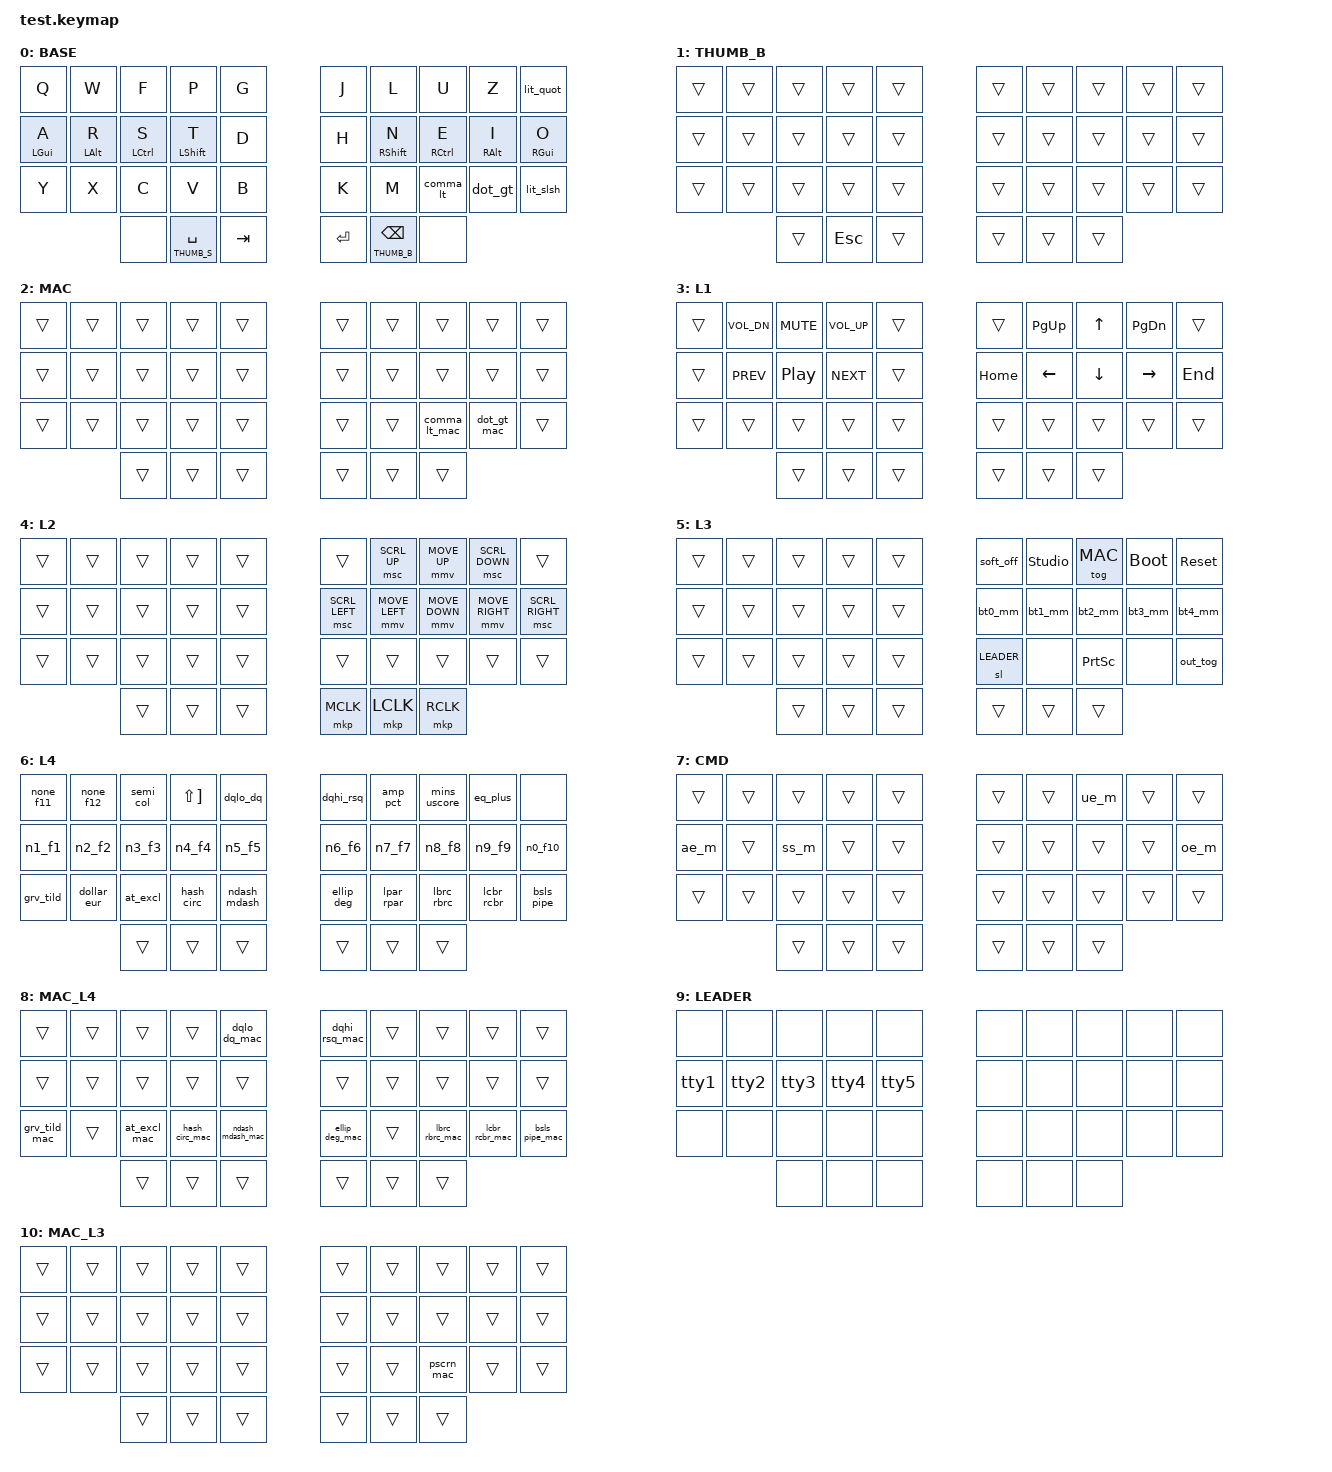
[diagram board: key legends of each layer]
/*
 * Cheapino v2 - Toby Keymap (ZMK Port) - HRM + Bottom-Row-Layer Variante
 *
 * Layer-Aufbau:
 *   BASE      - Colemak DH, HRMs auf Home Row (GACS, gespiegelt)
 *               Outer-Thumbs: plain ESC/DEL. Inner-Thumbs: lt THUMB_S/THUMB_B.
 *               Bottom-Row Layer-Trigger: noch offen (aktuell alle plain).
 *   THUMB_S   - aktiv solange linker Inner-Thumb (SPACE) gehalten wird.
 *               Nur Pos 34 ueberschrieben (= DEL). Rest faellt auf BASE durch.
 *               Effekt: Hold SPC + Tap BSPC = DEL.
 *   THUMB_B   - aktiv solange rechter Inner-Thumb (BSPC) gehalten wird.
 *               Nur Pos 31 ueberschrieben (= ESC). Rest faellt auf BASE durch.
 *               Effekt: Hold BSPC + Tap SPC = ESC.
 *   MAC       - Sentinel-Layer ueber BASE; getoggelt via &tog MAC auf L3.
 *               Thumbs alle trans (App-Switch laeuft jetzt ueber HRMs).
 *   L1 (NAV)  - Pfeile + Media; Trigger: TODO Bottom-Row
 *   L2 (MOUSE)- Maus; Trigger: TODO Bottom-Row
 *   L3 (SYS)  - BT, Studio, Reset, MAC-Toggle, Leader; Trigger: TODO
 *   L4 (NUM)  - Num/F/Sym kombiniert; Trigger: TODO (evtl. Smart-Layer)
 *   CMD       - Umlaute (Mod-Morph); evtl. spaeter durch adaptive keys ersetzt.
 *   MAC_L4    - conditional ueber L4+MAC; ueberlagert L4 mit Mac-Symbolen.
 *   LEADER    - sticky-layer fuer TTY-Switch.
 *   MAC_L3    - conditional ueber L3+MAC; ueberlagert PSCRN mit Mac-Screenshot.
 *
 * HRMs (Home Row, GACS, gespiegelt):
 *   Links:  A=GUI, R=Alt, S=Ctrl, T=Shift
 *   Rechts: N=Shift, E=Ctrl, I=Alt, O=GUI
 *   Cross-hand-only via hold-trigger-key-positions.
 *   require-prior-idle-ms verhindert thallo-Misfires im Flow-Tippen.
 *
 * Annahme: deutsches Layout auf dem Host (Linux/Win DIN 2137 oder macOS DE).
 */

#include <behaviors.dtsi>
#include <dt-bindings/zmk/keys.h>
#include <dt-bindings/zmk/bt.h>

/* Override pointing defaults BEFORE including pointing.h.
 * Default values are 600 (move) and 10 (scroll). Raise move, slow scroll.
 */
#define ZMK_POINTING_DEFAULT_MOVE_VAL 1800
#define ZMK_POINTING_DEFAULT_SCRL_VAL 10
#include <dt-bindings/zmk/pointing.h>
#include <dt-bindings/zmk/outputs.h>

/* Layer-Reihenfolge: MAC liegt direkt ueber BASE (nur Sentinel-Overlay), damit
 * alle Hold-Layer (L1-L4, CMD) hoehere Prio haben und ihre Layer-Trigger
 * (z.B. L1 Pos 32 -> &lt L3) auch mit aktivem MAC funktionieren.
 * Die conditional-Layer (MAC_L4, MAC_L3) liegen ganz oben fuer ihre Overrides.
 */
#define BASE     0
#define THUMB_S  1
#define THUMB_B  2
#define MAC      3
#define L1       4
#define L2       5
#define L3       6
#define L4       7
#define CMD      8
#define MAC_L4   9
#define LEADER   10
#define MAC_L3   11

/*
 * Matrix-Positionen (aus cheapinov2.dtsi transform):
 *   0  1  2  3  4        5  6  7  8  9
 *  10 11 12 13 14       15 16 17 18 19
 *  20 21 22 23 24       25 26 27 28 29
 *         30 31 32      33 34 35
 */

/* DE-layout symbol aliases (Linux/Win DIN 2137).
 * AltGr on a DE keyboard = Right-Alt = RA() in ZMK.
 */
#define DE_LCBR RA(N7)                /* { = AltGr+7 */
#define DE_RCBR RA(N0)                /* } = AltGr+0 */
#define DE_LBRC RA(N8)                /* [ = AltGr+8 */
#define DE_RBRC RA(N9)                /* ] = AltGr+9 */
#define DE_BSLS RA(MINUS)             /* \ = AltGr+ss */
#define DE_AT   RA(Q)                 /* @ = AltGr+Q */
#define DE_EURO RA(E)                 /* EUR = AltGr+E */
#define DE_PIPE RA(NON_US_BACKSLASH)  /* | = AltGr+< */
#define DE_TILD RA(RIGHT_BRACKET)     /* ~ = AltGr+Plus */
#define DE_HASH NON_US_HASH
/* Native DE umlaut/eszett positions (physical US keycaps -> DE chars) */
#define DE_ADIA SQT                   /* A = physical ' key -> Ae */
#define DE_ODIA SEMI                  /* O = physical ; key -> Oe */
#define DE_UDIA LBKT                  /* U = physical [ key -> Ue */
#define DE_SS   MINUS                 /* ss = physical - key -> ss */

/* macOS German layout uses different Option-key combos for the same symbols. */
#define DE_LCBR_MAC LA(N8)
#define DE_RCBR_MAC LA(N9)
#define DE_LBRC_MAC LA(N5)
#define DE_RBRC_MAC LA(N6)
#define DE_BSLS_MAC LA(LS(N7))
#define DE_AT_MAC   LA(L)
#define DE_PIPE_MAC LA(N7)

/* Mouse ramp tuning - approximates QMK's MK_KINETIC_SPEED feel. */
&mmv {
    time-to-max-speed-ms = <100>;
    acceleration-exponent = <3>;
};

&msc {
    time-to-max-speed-ms = <500>;
    acceleration-exponent = <0>;
};

/* Globale Hold-Tap-Defaults fuer ZMK builtin &mt und &lt.
 * Gilt fuer alle Vorkommen in der Keymap (Thumbs).
 */
&mt {
    tapping-term-ms = <200>;
    quick-tap-ms = <150>;
    flavor = "balanced";
};

&lt {
    tapping-term-ms = <200>;
    quick-tap-ms = <150>;
    flavor = "balanced";
};

/* Caps-Word soll durch Bindestriche, Backspace und Umlaut-Mod-Morph-Slots
 * weiterlaufen. Slot-Liste unveraendert.
 */
&caps_word {
    continue-list = <UNDERSCORE MINUS BACKSPACE DELETE KP_MINUS SLASH SQT SEMI LBKT>;
};

/ {
    macros {
        /* ===== Linux DE-Compose Typography =====
         * Voraussetzung: setxkbmap -option compose:sclk (Scroll-Lock = Compose).
         */
        de_circ: de_circumflex {
            compatible = "zmk,behavior-macro"; #binding-cells = <0>;
            wait-ms = <0>; tap-ms = <0>;
            bindings = <&macro_tap &kp GRAVE &kp SPACE>;
        };
        /* macOS-DE ISO: Apple tauscht HID GRAVE und NON_US_BACKSLASH ggue Linux.
         * Auf Mac-DE ist NON_US_BACKSLASH der ^-Dead-Key (statt GRAVE).
         */
        de_circ_mac: de_circumflex_mac {
            compatible = "zmk,behavior-macro"; #binding-cells = <0>;
            wait-ms = <0>; tap-ms = <0>;
            bindings = <&macro_tap &kp NON_US_BACKSLASH &kp SPACE>;
        };
        de_grv: de_grave_literal {
            compatible = "zmk,behavior-macro"; #binding-cells = <0>;
            wait-ms = <0>; tap-ms = <0>;
            bindings = <&macro_tap &kp LS(EQL) &kp SPACE>;
        };
        mdash: em_dash { compatible = "zmk,behavior-macro"; #binding-cells = <0>;
            bindings = <&macro_tap &kp SCROLLLOCK &kp SLASH &kp SLASH &kp SLASH>; };
        ndash: en_dash { compatible = "zmk,behavior-macro"; #binding-cells = <0>;
            bindings = <&macro_tap &kp SCROLLLOCK &kp SLASH &kp SLASH &kp DOT>; };
        ellip: ellipsis { compatible = "zmk,behavior-macro"; #binding-cells = <0>;
            bindings = <&macro_tap &kp SCROLLLOCK &kp DOT &kp DOT>; };
        dqlo: de_dq_low { compatible = "zmk,behavior-macro"; #binding-cells = <0>;
            bindings = <&macro_tap &kp SCROLLLOCK &kp LS(N2) &kp COMMA>; };
        dqhi: de_sq_low { compatible = "zmk,behavior-macro"; #binding-cells = <0>;
            bindings = <&macro_tap &kp SCROLLLOCK &kp LS(NON_US_HASH) &kp COMMA>; };
        dquote: de_dq_high { compatible = "zmk,behavior-macro"; #binding-cells = <0>;
            bindings = <&macro_tap &kp SCROLLLOCK &kp LS(N2) &kp NON_US_BACKSLASH>; };
        rsquote: right_single_quote { compatible = "zmk,behavior-macro"; #binding-cells = <0>;
            bindings = <&macro_tap &kp SCROLLLOCK &kp LS(NON_US_HASH) &kp LS(NON_US_BACKSLASH)>; };
        degree: degree_sign { compatible = "zmk,behavior-macro"; #binding-cells = <0>;
            bindings = <&macro_tap &kp SCROLLLOCK &kp O &kp O>; };

        /* ===== macOS native typography (Option-key shortcuts) ===== */
        mdash_mac: mdash_mac { compatible = "zmk,behavior-macro"; #binding-cells = <0>;
            bindings = <&macro_tap &kp LA(LS(SLASH))>; };
        ndash_mac: ndash_mac { compatible = "zmk,behavior-macro"; #binding-cells = <0>;
            bindings = <&macro_tap &kp LA(SLASH)>; };
        ellip_mac: ellip_mac { compatible = "zmk,behavior-macro"; #binding-cells = <0>;
            bindings = <&macro_tap &kp LA(DOT)>; };
        dqlo_mac: dqlo_mac { compatible = "zmk,behavior-macro"; #binding-cells = <0>;
            bindings = <&macro_tap &kp LA(NON_US_BACKSLASH)>; };
        dqhi_mac: dqhi_mac { compatible = "zmk,behavior-macro"; #binding-cells = <0>;
            bindings = <&macro_tap &kp LA(S)>; };
        dquote_mac: dquote_mac { compatible = "zmk,behavior-macro"; #binding-cells = <0>;
            bindings = <&macro_tap &kp LA(N2)>; };
        rsquote_mac: rsquote_mac { compatible = "zmk,behavior-macro"; #binding-cells = <0>;
            bindings = <&macro_tap &kp LA(LS(NON_US_HASH))>; };
        de_tild_mac: de_tild_mac { compatible = "zmk,behavior-macro"; #binding-cells = <0>;
            bindings = <&macro_tap &kp LA(N) &kp SPACE>; };
        degree_mac: degree_mac { compatible = "zmk,behavior-macro"; #binding-cells = <0>;
            bindings = <&macro_tap &kp LS(GRAVE)>; };

        /* macOS Screenshot: Bildausschnitt -> Zwischenablage (Shift+Ctrl+Cmd+4). */
        pscrn_mac: pscrn_mac { compatible = "zmk,behavior-macro"; #binding-cells = <0>;
            bindings = <&macro_tap &kp LC(LG(LS(N4)))>; };

        /* ===== BT-Profile ===== */
        bt_lin: bt_lin { compatible = "zmk,behavior-macro"; #binding-cells = <0>;
            bindings = <&macro_tap &bt BT_SEL 0>; };
        bt_and: bt_and { compatible = "zmk,behavior-macro"; #binding-cells = <0>;
            bindings = <&macro_tap &bt BT_SEL 1>; };
        /* BT-Profile 2 ohne automatisches MAC-Toggle. Layout wird separat
         * via &tog MAC auf L1 umgeschaltet, sonst driftet der State wenn
         * man bt_mac doppelt antippt.
         */
        bt_mac: bt_mac { compatible = "zmk,behavior-macro"; #binding-cells = <0>;
            bindings = <&macro_tap &bt BT_SEL 2>; };

        /* ===== Linux TTY-Switch via Leader ===== */
        tty1: tty1 { compatible = "zmk,behavior-macro"; #binding-cells = <0>;
            bindings = <&macro_tap &kp LC(LA(F1))>; };
        tty2: tty2 { compatible = "zmk,behavior-macro"; #binding-cells = <0>;
            bindings = <&macro_tap &kp LC(LA(F2))>; };
        tty3: tty3 { compatible = "zmk,behavior-macro"; #binding-cells = <0>;
            bindings = <&macro_tap &kp LC(LA(F3))>; };
        tty4: tty4 { compatible = "zmk,behavior-macro"; #binding-cells = <0>;
            bindings = <&macro_tap &kp LC(LA(F4))>; };
        tty5: tty5 { compatible = "zmk,behavior-macro"; #binding-cells = <0>;
            bindings = <&macro_tap &kp LC(LA(F5))>; };

        /* Profile selektieren + dessen Bond loeschen (BT_CLR clears active profile). */
        bt_clr_0: bt_clr_0 { compatible = "zmk,behavior-macro"; #binding-cells = <0>;
            bindings = <&macro_tap &bt BT_SEL 0 &bt BT_CLR>; };
        bt_clr_1: bt_clr_1 { compatible = "zmk,behavior-macro"; #binding-cells = <0>;
            bindings = <&macro_tap &bt BT_SEL 1 &bt BT_CLR>; };
        bt_clr_2: bt_clr_2 { compatible = "zmk,behavior-macro"; #binding-cells = <0>;
            bindings = <&macro_tap &bt BT_SEL 2 &bt BT_CLR>; };
        bt_clr_3: bt_clr_3 { compatible = "zmk,behavior-macro"; #binding-cells = <0>;
            bindings = <&macro_tap &bt BT_SEL 3 &bt BT_CLR>; };
        bt_clr_4: bt_clr_4 { compatible = "zmk,behavior-macro"; #binding-cells = <0>;
            bindings = <&macro_tap &bt BT_SEL 4 &bt BT_CLR>; };
    };

    behaviors {
        /* ===== Home Row Mods (timeless HRM, urob-Stil) =====
         * hml (links): triggert nur wenn die naechste Taste auf der rechten Hand liegt
         * hmr (rechts): triggert nur wenn die naechste Taste auf der linken Hand liegt
         *
         * Tuning-Hinweise:
         *   tapping-term-ms = 280   - obere Schwelle fuer Hold-Erkennung
         *   quick-tap-ms = 175      - schnelles erneutes Druecken = echtes Tippen,
         *                             kein Mod (z.B. fuer "aa", "tt")
         *   require-prior-idle-ms = 150 - kein Mod-Hold wenn in den letzten 150ms
         *                             schon getippt wurde (Flow-Schutz, "thallo"-Fix)
         *   hold-trigger-key-positions - Liste der gegenueberliegenden Hand-Tasten
         *   hold-trigger-on-release    - Hold-Entscheidung erst beim Release
         *                                (erlaubt retroaktive Mod-Aktivierung)
         *
         * Position-Mapping Cheapino (siehe Matrix oben):
         *   Linke Hand:  0-4, 10-14, 20-24, 30-32
         *   Rechte Hand: 5-9, 15-19, 25-29, 33-35
         */
        hml: home_row_mod_left {
            compatible = "zmk,behavior-hold-tap";
            #binding-cells = <2>;
            flavor = "balanced";
            tapping-term-ms = <280>;
            quick-tap-ms = <175>;
            require-prior-idle-ms = <150>;
            bindings = <&kp>, <&kp>;
            hold-trigger-key-positions = <5 6 7 8 9 15 16 17 18 19 25 26 27 28 29 33 34 35>;
            hold-trigger-on-release;
        };

        hmr: home_row_mod_right {
            compatible = "zmk,behavior-hold-tap";
            #binding-cells = <2>;
            flavor = "balanced";
            tapping-term-ms = <280>;
            quick-tap-ms = <175>;
            require-prior-idle-ms = <150>;
            bindings = <&kp>, <&kp>;
            hold-trigger-key-positions = <0 1 2 3 4 10 11 12 13 14 20 21 22 23 24 30 31 32>;
            hold-trigger-on-release;
        };

        /* ===== Window-/App-Navigation auf rechten Thumbs =====
         * Alt (Linux/Win) bzw. LGUI (Mac) liegen auf LO-Thumb (Pos 30 LALT)
         * bzw. L3-Thumb (Pos 32 LCTRL/LGUI) - beide links. Mit gehaltenem
         * Mod triggern die rechten Thumbs cross-handed App-/Window-Switch:
         *   R1 (Pos 35, DEL)  -> Mod+TAB        (App vorwaerts)
         *   R3 (Pos 33, RET)  -> Mod+Shift+TAB  (App rueckwaerts)
         *   R2 (Pos 34, BSPC) -> Mod+GRAVE      (Window innerhalb App)
         *
         * Mods-Mask deckt Alt + GUI ab, damit Linux UND Mac funktionieren.
         * keep-mods preserviert den User-Mod, sonst kaeme nur die Tap-Action
         * ohne Modifier durch.
         */
        ret_revtab: ret_revtab { compatible = "zmk,behavior-mod-morph"; #binding-cells = <0>;
            bindings = <&kp RET>, <&kp LS(TAB)>;
            mods = <(MOD_LALT|MOD_RALT|MOD_LGUI|MOD_RGUI)>;
            keep-mods = <(MOD_LALT|MOD_RALT|MOD_LGUI|MOD_RGUI)>; };
        bspc_appwin: bspc_appwin { compatible = "zmk,behavior-mod-morph"; #binding-cells = <0>;
            bindings = <&kp BSPC>, <&kp GRAVE>;
            mods = <(MOD_LALT|MOD_RALT|MOD_LGUI|MOD_RGUI)>;
            keep-mods = <(MOD_LALT|MOD_RALT|MOD_LGUI|MOD_RGUI)>; };
        del_alttab: del_alttab { compatible = "zmk,behavior-mod-morph"; #binding-cells = <0>;
            bindings = <&kp DEL>, <&kp TAB>;
            mods = <(MOD_LALT|MOD_RALT|MOD_LGUI|MOD_RGUI)>;
            keep-mods = <(MOD_LALT|MOD_RALT|MOD_LGUI|MOD_RGUI)>; };

        /* Custom layer-tap mit mod-morph als tap-binding. ZMK-builtin &lt
         * akzeptiert nur &kp als tap, daher drei lokale Hold-Tap-Wrapper.
         */
        lt_ret_revtab: lt_ret_revtab {
            compatible = "zmk,behavior-hold-tap"; #binding-cells = <2>;
            flavor = "balanced"; tapping-term-ms = <200>; quick-tap-ms = <150>;
            bindings = <&mo>, <&ret_revtab>;
        };
        lt_bspc_appwin: lt_bspc_appwin {
            compatible = "zmk,behavior-hold-tap"; #binding-cells = <2>;
            flavor = "balanced"; tapping-term-ms = <200>; quick-tap-ms = <150>;
            bindings = <&mo>, <&bspc_appwin>;
        };
        lt_del_alttab: lt_del_alttab {
            compatible = "zmk,behavior-hold-tap"; #binding-cells = <2>;
            flavor = "balanced"; tapping-term-ms = <200>; quick-tap-ms = <150>;
            bindings = <&mo>, <&del_alttab>;
        };

        /* ===== Mac-Varianten der App-Switch Mod-Morphs =====
         * Auf Mac soll Pos 30 hold (= LALT = Option) + R-thumb tap nicht
         * Option+TAB sondern Cmd+TAB senden. Trick: keep-mods=0 wirft die
         * User-Mod (LALT oder LGUI) komplett weg, das Binding setzt LGUI
         * explizit. Funktioniert sowohl wenn LALT (Pos 30) als auch LGUI
         * (Pos 32 via MAC override) gehalten wird.
         */
        ret_revtab_mac: ret_revtab_mac { compatible = "zmk,behavior-mod-morph"; #binding-cells = <0>;
            bindings = <&kp RET>, <&kp LG(LS(TAB))>;
            mods = <(MOD_LALT|MOD_RALT|MOD_LGUI|MOD_RGUI)>;
            keep-mods = <0>; };
        bspc_appwin_mac: bspc_appwin_mac { compatible = "zmk,behavior-mod-morph"; #binding-cells = <0>;
            bindings = <&kp BSPC>, <&kp LG(GRAVE)>;
            mods = <(MOD_LALT|MOD_RALT|MOD_LGUI|MOD_RGUI)>;
            keep-mods = <0>; };
        del_alttab_mac: del_alttab_mac { compatible = "zmk,behavior-mod-morph"; #binding-cells = <0>;
            bindings = <&kp DEL>, <&kp LG(TAB)>;
            mods = <(MOD_LALT|MOD_RALT|MOD_LGUI|MOD_RGUI)>;
            keep-mods = <0>; };

        lt_ret_revtab_mac: lt_ret_revtab_mac {
            compatible = "zmk,behavior-hold-tap"; #binding-cells = <2>;
            flavor = "balanced"; tapping-term-ms = <200>; quick-tap-ms = <150>;
            bindings = <&mo>, <&ret_revtab_mac>;
        };
        lt_bspc_appwin_mac: lt_bspc_appwin_mac {
            compatible = "zmk,behavior-hold-tap"; #binding-cells = <2>;
            flavor = "balanced"; tapping-term-ms = <200>; quick-tap-ms = <150>;
            bindings = <&mo>, <&bspc_appwin_mac>;
        };
        lt_del_alttab_mac: lt_del_alttab_mac {
            compatible = "zmk,behavior-hold-tap"; #binding-cells = <2>;
            flavor = "balanced"; tapping-term-ms = <200>; quick-tap-ms = <150>;
            bindings = <&mo>, <&del_alttab_mac>;
        };

        /* ===== BASE Mod-Morphs ===== */
        ae_m: umlaut_ae { compatible = "zmk,behavior-mod-morph"; #binding-cells = <0>;
            bindings = <&kp DE_ADIA>, <&kp LS(DE_ADIA)>;
            mods = <(MOD_LSFT|MOD_RSFT)>; };
        oe_m: umlaut_oe { compatible = "zmk,behavior-mod-morph"; #binding-cells = <0>;
            bindings = <&kp DE_ODIA>, <&kp LS(DE_ODIA)>;
            mods = <(MOD_LSFT|MOD_RSFT)>; };
        ue_m: umlaut_ue { compatible = "zmk,behavior-mod-morph"; #binding-cells = <0>;
            bindings = <&kp DE_UDIA>, <&kp LS(DE_UDIA)>;
            mods = <(MOD_LSFT|MOD_RSFT)>; };
        ss_m: eszett { compatible = "zmk,behavior-mod-morph"; #binding-cells = <0>;
            bindings = <&kp DE_SS>, <&kp LS(DE_SS)>;
            mods = <(MOD_LSFT|MOD_RSFT)>; };

        comma_lt: comma_lessthan {
            compatible = "zmk,behavior-mod-morph"; #binding-cells = <0>;
            bindings = <&kp COMMA>, <&kp NON_US_BACKSLASH>;
            mods = <(MOD_LSFT|MOD_RSFT)>; keep-mods = <0>;
        };
        dot_gt: dot_greaterthan {
            compatible = "zmk,behavior-mod-morph"; #binding-cells = <0>;
            bindings = <&kp DOT>, <&kp LS(NON_US_BACKSLASH)>;
            mods = <(MOD_LSFT|MOD_RSFT)>; keep-mods = <0>;
        };
        lit_quot: literal_quote {
            compatible = "zmk,behavior-mod-morph"; #binding-cells = <0>;
            bindings = <&kp LS(DE_HASH)>, <&kp LS(N2)>;
            mods = <(MOD_LSFT|MOD_RSFT)>; keep-mods = <0>;
        };
        lit_slsh: literal_slash {
            compatible = "zmk,behavior-mod-morph"; #binding-cells = <0>;
            bindings = <&kp LS(N7)>, <&kp LS(MINUS)>;
            mods = <(MOD_LSFT|MOD_RSFT)>; keep-mods = <0>;
        };

        /* BT-Profile: Tap = select, MOD+Tap = clear */
        bt0_mm: bt0_mm { compatible = "zmk,behavior-mod-morph"; #binding-cells = <0>;
            bindings = <&bt_lin>, <&bt_clr_0>;
            mods = <(MOD_LSFT|MOD_RSFT)>; keep-mods = <0>; };
        bt1_mm: bt1_mm { compatible = "zmk,behavior-mod-morph"; #binding-cells = <0>;
            bindings = <&bt_and>, <&bt_clr_1>;
            mods = <(MOD_LSFT|MOD_RSFT)>; keep-mods = <0>; };
        bt2_mm: bt2_mm { compatible = "zmk,behavior-mod-morph"; #binding-cells = <0>;
            bindings = <&bt_mac>, <&bt_clr_2>;
            mods = <(MOD_LSFT|MOD_RSFT)>; keep-mods = <0>; };
        bt3_mm: bt3_mm { compatible = "zmk,behavior-mod-morph"; #binding-cells = <0>;
            bindings = <&bt BT_SEL 3>, <&bt_clr_3>;
            mods = <(MOD_LSFT|MOD_RSFT)>; keep-mods = <0>; };
        bt4_mm: bt4_mm { compatible = "zmk,behavior-mod-morph"; #binding-cells = <0>;
            bindings = <&bt BT_SEL 4>, <&bt_clr_4>;
            mods = <(MOD_LSFT|MOD_RSFT)>; keep-mods = <0>; };

        /* Output: Tap = BLE, MOD+Tap = USB */
        out_tog: out_tog { compatible = "zmk,behavior-mod-morph"; #binding-cells = <0>;
            bindings = <&out OUT_BLE>, <&out OUT_USB>;
            mods = <(MOD_LSFT|MOD_RSFT)>; keep-mods = <0>; };

        /* ===== L4 Mod-Morphs (Tap = Symbol/Ziffer, MOD+Tap = F-Key) ===== */
        n1_f1: n1_f1 { compatible = "zmk,behavior-mod-morph"; #binding-cells = <0>;
            bindings = <&kp N1>, <&kp F1>;
            mods = <(MOD_LSFT|MOD_RSFT)>; keep-mods = <0>; };
        n2_f2: n2_f2 { compatible = "zmk,behavior-mod-morph"; #binding-cells = <0>;
            bindings = <&kp N2>, <&kp F2>;
            mods = <(MOD_LSFT|MOD_RSFT)>; keep-mods = <0>; };
        n3_f3: n3_f3 { compatible = "zmk,behavior-mod-morph"; #binding-cells = <0>;
            bindings = <&kp N3>, <&kp F3>;
            mods = <(MOD_LSFT|MOD_RSFT)>; keep-mods = <0>; };
        n4_f4: n4_f4 { compatible = "zmk,behavior-mod-morph"; #binding-cells = <0>;
            bindings = <&kp N4>, <&kp F4>;
            mods = <(MOD_LSFT|MOD_RSFT)>; keep-mods = <0>; };
        n5_f5: n5_f5 { compatible = "zmk,behavior-mod-morph"; #binding-cells = <0>;
            bindings = <&kp N5>, <&kp F5>;
            mods = <(MOD_LSFT|MOD_RSFT)>; keep-mods = <0>; };
        n6_f6: n6_f6 { compatible = "zmk,behavior-mod-morph"; #binding-cells = <0>;
            bindings = <&kp N6>, <&kp F6>;
            mods = <(MOD_LSFT|MOD_RSFT)>; keep-mods = <0>; };
        n7_f7: n7_f7 { compatible = "zmk,behavior-mod-morph"; #binding-cells = <0>;
            bindings = <&kp N7>, <&kp F7>;
            mods = <(MOD_LSFT|MOD_RSFT)>; keep-mods = <0>; };
        n8_f8: n8_f8 { compatible = "zmk,behavior-mod-morph"; #binding-cells = <0>;
            bindings = <&kp N8>, <&kp F8>;
            mods = <(MOD_LSFT|MOD_RSFT)>; keep-mods = <0>; };
        n9_f9: n9_f9 { compatible = "zmk,behavior-mod-morph"; #binding-cells = <0>;
            bindings = <&kp N9>, <&kp F9>;
            mods = <(MOD_LSFT|MOD_RSFT)>; keep-mods = <0>; };
        n0_f10: n0_f10 { compatible = "zmk,behavior-mod-morph"; #binding-cells = <0>;
            bindings = <&kp N0>, <&kp F10>;
            mods = <(MOD_LSFT|MOD_RSFT)>; keep-mods = <0>; };

        /* L2 obere Reihe links: leer/F11, leer/F12, ;/:, dqlo/dquote */
        none_f11: none_f11 { compatible = "zmk,behavior-mod-morph"; #binding-cells = <0>;
            bindings = <&none>, <&kp F11>;
            mods = <(MOD_LSFT|MOD_RSFT)>; keep-mods = <0>; };
        none_f12: none_f12 { compatible = "zmk,behavior-mod-morph"; #binding-cells = <0>;
            bindings = <&none>, <&kp F12>;
            mods = <(MOD_LSFT|MOD_RSFT)>; keep-mods = <0>; };
        semi_col: semi_col { compatible = "zmk,behavior-mod-morph"; #binding-cells = <0>;
            bindings = <&kp LS(COMMA)>, <&kp LS(DOT)>;
            mods = <(MOD_LSFT|MOD_RSFT)>; keep-mods = <0>; };
        dqlo_dq: dqlo_dq { compatible = "zmk,behavior-mod-morph"; #binding-cells = <0>;
            bindings = <&dqlo>, <&dquote>;
            mods = <(MOD_LSFT|MOD_RSFT)>; keep-mods = <0>; };

        /* L2 untere Reihe links: `/~, $/EUR, @/!, #/^, ndash/mdash */
        grv_tild: grv_tild { compatible = "zmk,behavior-mod-morph"; #binding-cells = <0>;
            bindings = <&de_grv>, <&kp DE_TILD>;
            mods = <(MOD_LSFT|MOD_RSFT)>; keep-mods = <0>; };
        dollar_eur: dollar_eur { compatible = "zmk,behavior-mod-morph"; #binding-cells = <0>;
            bindings = <&kp LS(N4)>, <&kp DE_EURO>;
            mods = <(MOD_LSFT|MOD_RSFT)>; keep-mods = <0>; };
        at_excl: at_excl { compatible = "zmk,behavior-mod-morph"; #binding-cells = <0>;
            bindings = <&kp DE_AT>, <&kp LS(N1)>;
            mods = <(MOD_LSFT|MOD_RSFT)>; keep-mods = <0>; };
        hash_circ: hash_circ { compatible = "zmk,behavior-mod-morph"; #binding-cells = <0>;
            bindings = <&kp DE_HASH>, <&de_circ>;
            mods = <(MOD_LSFT|MOD_RSFT)>; keep-mods = <0>; };
        ndash_mdash: ndash_mdash { compatible = "zmk,behavior-mod-morph"; #binding-cells = <0>;
            bindings = <&ndash>, <&mdash>;
            mods = <(MOD_LSFT|MOD_RSFT)>; keep-mods = <0>; };

        /* L2 obere Reihe rechts: dqhi/rsquote, &/%, -/_, =/+ */
        dqhi_rsq: dqhi_rsq { compatible = "zmk,behavior-mod-morph"; #binding-cells = <0>;
            bindings = <&dqhi>, <&rsquote>;
            mods = <(MOD_LSFT|MOD_RSFT)>; keep-mods = <0>; };
        amp_pct: amp_pct { compatible = "zmk,behavior-mod-morph"; #binding-cells = <0>;
            bindings = <&kp LS(N6)>, <&kp LS(N5)>;
            mods = <(MOD_LSFT|MOD_RSFT)>; keep-mods = <0>; };
        /* DE: '-' liegt auf der HID-SLASH-Taste (US '/'), '_' = LS(SLASH).
         * MINUS waere auf DE 'ss' und LS(MINUS) waere '?'.
         */
        mins_uscore: mins_uscore { compatible = "zmk,behavior-mod-morph"; #binding-cells = <0>;
            bindings = <&kp SLASH>, <&kp LS(SLASH)>;
            mods = <(MOD_LSFT|MOD_RSFT)>; keep-mods = <0>; };
        eq_plus: eq_plus { compatible = "zmk,behavior-mod-morph"; #binding-cells = <0>;
            bindings = <&kp LS(N0)>, <&kp RBKT>;
            mods = <(MOD_LSFT|MOD_RSFT)>; keep-mods = <0>; };

        /* L2 untere Reihe rechts: ellip/deg, (/ ), [/], {/}, \/| */
        ellip_deg: ellip_deg { compatible = "zmk,behavior-mod-morph"; #binding-cells = <0>;
            bindings = <&ellip>, <&degree>;
            mods = <(MOD_LSFT|MOD_RSFT)>; keep-mods = <0>; };
        lpar_rpar: lpar_rpar { compatible = "zmk,behavior-mod-morph"; #binding-cells = <0>;
            bindings = <&kp LS(N8)>, <&kp LS(N9)>;
            mods = <(MOD_LSFT|MOD_RSFT)>; keep-mods = <0>; };
        lbrc_rbrc: lbrc_rbrc { compatible = "zmk,behavior-mod-morph"; #binding-cells = <0>;
            bindings = <&kp DE_LBRC>, <&kp DE_RBRC>;
            mods = <(MOD_LSFT|MOD_RSFT)>; keep-mods = <0>; };
        lcbr_rcbr: lcbr_rcbr { compatible = "zmk,behavior-mod-morph"; #binding-cells = <0>;
            bindings = <&kp DE_LCBR>, <&kp DE_RCBR>;
            mods = <(MOD_LSFT|MOD_RSFT)>; keep-mods = <0>; };
        bsls_pipe: bsls_pipe { compatible = "zmk,behavior-mod-morph"; #binding-cells = <0>;
            bindings = <&kp DE_BSLS>, <&kp DE_PIPE>;
            mods = <(MOD_LSFT|MOD_RSFT)>; keep-mods = <0>; };

        /* ===== MAC_L4 Mod-Morphs (ueberlagern L4 mit macOS-Option-Combos) ===== */
        grv_tild_mac: grv_tild_mac { compatible = "zmk,behavior-mod-morph"; #binding-cells = <0>;
            bindings = <&de_grv>, <&de_tild_mac>;
            mods = <(MOD_LSFT|MOD_RSFT)>; keep-mods = <0>; };
        at_excl_mac: at_excl_mac { compatible = "zmk,behavior-mod-morph"; #binding-cells = <0>;
            bindings = <&kp DE_AT_MAC>, <&kp LS(N1)>;
            mods = <(MOD_LSFT|MOD_RSFT)>; keep-mods = <0>; };
        lbrc_rbrc_mac: lbrc_rbrc_mac { compatible = "zmk,behavior-mod-morph"; #binding-cells = <0>;
            bindings = <&kp DE_LBRC_MAC>, <&kp DE_RBRC_MAC>;
            mods = <(MOD_LSFT|MOD_RSFT)>; keep-mods = <0>; };
        lcbr_rcbr_mac: lcbr_rcbr_mac { compatible = "zmk,behavior-mod-morph"; #binding-cells = <0>;
            bindings = <&kp DE_LCBR_MAC>, <&kp DE_RCBR_MAC>;
            mods = <(MOD_LSFT|MOD_RSFT)>; keep-mods = <0>; };
        bsls_pipe_mac: bsls_pipe_mac { compatible = "zmk,behavior-mod-morph"; #binding-cells = <0>;
            bindings = <&kp DE_BSLS_MAC>, <&kp DE_PIPE_MAC>;
            mods = <(MOD_LSFT|MOD_RSFT)>; keep-mods = <0>; };

        /* Apple-ISO-Swap-Korrekturen: auf Mac-DE liegt < auf HID GRAVE
         * (statt NON_US_BACKSLASH) und ^ auf NON_US_BACKSLASH (statt GRAVE).
         */
        comma_lt_mac: comma_lessthan_mac {
            compatible = "zmk,behavior-mod-morph"; #binding-cells = <0>;
            bindings = <&kp COMMA>, <&kp GRAVE>;
            mods = <(MOD_LSFT|MOD_RSFT)>; keep-mods = <0>; };
        dot_gt_mac: dot_greaterthan_mac {
            compatible = "zmk,behavior-mod-morph"; #binding-cells = <0>;
            bindings = <&kp DOT>, <&kp LS(GRAVE)>;
            mods = <(MOD_LSFT|MOD_RSFT)>; keep-mods = <0>; };
        hash_circ_mac: hash_circ_mac {
            compatible = "zmk,behavior-mod-morph"; #binding-cells = <0>;
            bindings = <&kp DE_HASH>, <&de_circ_mac>;
            mods = <(MOD_LSFT|MOD_RSFT)>; keep-mods = <0>; };

        /* macOS-DE Compose-Pendants. Auf Mac sind ndash/mdash/Anfuehrung etc.
         * native Option-Shortcuts (kein compose:sclk noetig).
         */
        dqlo_dq_mac: dqlo_dq_mac { compatible = "zmk,behavior-mod-morph"; #binding-cells = <0>;
            bindings = <&dqlo_mac>, <&dquote_mac>;
            mods = <(MOD_LSFT|MOD_RSFT)>; keep-mods = <0>; };
        dqhi_rsq_mac: dqhi_rsq_mac { compatible = "zmk,behavior-mod-morph"; #binding-cells = <0>;
            bindings = <&dqhi_mac>, <&rsquote_mac>;
            mods = <(MOD_LSFT|MOD_RSFT)>; keep-mods = <0>; };
        ndash_mdash_mac: ndash_mdash_mac { compatible = "zmk,behavior-mod-morph"; #binding-cells = <0>;
            bindings = <&ndash_mac>, <&mdash_mac>;
            mods = <(MOD_LSFT|MOD_RSFT)>; keep-mods = <0>; };
        ellip_deg_mac: ellip_deg_mac { compatible = "zmk,behavior-mod-morph"; #binding-cells = <0>;
            bindings = <&ellip_mac>, <&degree_mac>;
            mods = <(MOD_LSFT|MOD_RSFT)>; keep-mods = <0>; };
    };

    conditional_layers {
        compatible = "zmk,conditional-layers";
        mac_l4_overlay {
            if-layers = <L4 MAC>;
            then-layer = <MAC_L4>;
        };
        mac_l3_overlay {
            if-layers = <L3 MAC>;
            then-layer = <MAC_L3>;
        };
    };

    combos {
        compatible = "zmk,combos";

        /* ===== BASE Clipboard (Linux/Win) ===== */
        combo_cut {
            timeout-ms = <50>;
            key-positions = <20 21>;  /* Z + X */
            bindings = <&kp LC(X)>;
            layers = <BASE>;
        };
        combo_copy {
            timeout-ms = <50>;
            key-positions = <21 22>;  /* X + C */
            bindings = <&kp LC(C)>;
            layers = <BASE>;
        };
        combo_paste {
            timeout-ms = <50>;
            key-positions = <22 23>;  /* C + V */
            bindings = <&kp LC(V)>;
            layers = <BASE>;
        };

        /* ===== MAC Clipboard (Cmd statt Ctrl) ===== */
        combo_cut_mac {
            timeout-ms = <50>;
            key-positions = <20 21>;
            bindings = <&kp LG(X)>;
            layers = <MAC>;
        };
        combo_copy_mac {
            timeout-ms = <50>;
            key-positions = <21 22>;
            bindings = <&kp LG(C)>;
            layers = <MAC>;
        };
        combo_paste_mac {
            timeout-ms = <50>;
            key-positions = <22 23>;
            bindings = <&kp LG(V)>;
            layers = <MAC>;
        };

        /* Caps-Word via Spc + Bspc thumbs (BOTH_SHIFTS_TURNS_ON_CAPS_WORD-Aequivalent) */
        combo_caps {
            timeout-ms = <50>;
            key-positions = <31 34>;
            bindings = <&caps_word>;
            layers = <BASE MAC>;
        };

        /* META = LGUI auf Linux/Win, LCTRL auf Mac. slow-release haelt den Mod
         * solange eine der Combo-Tasten gedrueckt bleibt -> Mod+Click etc.
         */
        combo_meta {
            timeout-ms = <50>;
            key-positions = <31 32>;
            bindings = <&kp LGUI>;
            layers = <BASE>;
            slow-release;
        };
        combo_meta_mac {
            timeout-ms = <50>;
            key-positions = <31 32>;
            bindings = <&kp LCTRL>;
            layers = <MAC>;
            slow-release;
        };
    };

    keymap {
        compatible = "zmk,keymap";

        /*
         * BASE - Colemak DH (DE-Layout).
         * Home Row: HRMs (hml/hmr) mit GACS-Pattern, beide Haende gespiegelt.
         * Bottom Row: aktuell alle plain (Layer-Trigger noch offen).
         * Thumbs: Outer = plain ESC/DEL, Inner = lt THUMB_S SPACE / lt THUMB_B BSPC,
         *         Middle = plain TAB / ENTER.
         */
        BASE {
            bindings = <
&kp Q        &kp W        &kp F         &kp P              &kp G               &kp J      &kp L             &kp U         &kp Z        &lit_quot
&hml LGUI A  &hml LALT R  &hml LCTRL S  &hml LSHFT T       &kp D               &kp H      &hmr RSHFT N      &hmr RCTRL E  &hmr RALT I  &hmr RGUI O
&kp Y        &kp X        &kp C         &kp V              &kp B               &kp K      &kp M             &comma_lt     &dot_gt      &lit_slsh
                          &none         &lt THUMB_S SPACE  &kp TAB             &kp ENTER  &lt THUMB_B BSPC  &none
            >;
        };

        /*
         * THUMB_S - aktiv solange linker Inner-Thumb (SPACE) gehalten wird.
         * Nur Pos 34 ueberschrieben (= DEL). Alles andere trans -> BASE.
         * Effekt: Hold SPC + Tap BSPC = DEL.
         */
        THUMB_S {
            bindings = <
&trans    &trans     &trans     &trans     &trans           &trans    &kp PG_UP  &kp UP    &kp PG_DN  &trans
&kp LGUI  &kp LALT   &kp LCTRL  &kp LSHFT  &trans           &kp HOME  &kp LEFT   &kp DOWN  &kp RIGHT  &kp END
&trans    &trans     &trans     &lt MOUSE  &trans           &trans    &trans     &trans    &trans     &trans
                     &trans     &trans     &trans           &trans    &kp DEL    &trans

        MOUSE {

}
&trans    &trans    &trans     &trans     &trans           &trans          &msc SCRL_UP    &mmv MOVE_UP    &msc SCRL_DOWN   &trans
&kp LGUI  &kp LALT  &kp LCTRL  &kp LSHFT  &trans           &msc SCRL_LEFT  &mmv MOVE_LEFT  &mmv MOVE_DOWN  &mmv MOVE_RIGHT  &msc SCRL_RIGHT
&trans    &trans    &trans     &trans     &trans           &trans          &trans          &trans          &trans           &trans
                    &trans     &trans     &trans           &mkp MCLK       &mkp LCLK       &mkp RCLK




&trans    &trans    &trans     &trans     &trans           &soft_off   &studio_unlock  &sl LEADER   &bootloader  &sys_reset
&kp LGUI  &kp LALT  &kp LCTRL  &kp LSHFT  &trans           &bt0_mm     &bt1_mm         &bt2_mm      &bt3_mm      &bt4_mm <-- Kann man die modmorphs so ändern, dass sie 3 states haben können? Einfacher Tap aktiviert das Profil, ALT+Tap deaktiviert das Profil und ALT+CTRL+Tap cleared das jeweilige Profil?
&trans    &trans    &trans     &trans     &trans           &tog LIN    &tog MAC        &kp PSCRN    &out_usb     &out_ble
                    &trans     &trans     &trans           &trans      &trans          &trans
            >;
        };

        /*
         * THUMB_B - aktiv solange rechter Inner-Thumb (BSPC) gehalten wird.
         * Nur Pos 31 ueberschrieben (= ESC). Alles andere trans -> BASE.
         * Effekt: Hold BSPC + Tap SPC = ESC.
         */
        THUMB_B {
            bindings = <
&trans  &trans  &trans  &trans  &trans      &trans  &trans  &trans  &trans  &trans
&trans  &trans  &trans  &trans  &trans      &trans  &trans  &trans  &trans  &trans
&trans  &trans  &trans  &trans  &trans      &trans  &trans  &trans  &trans  &trans
                &trans  &kp ESC &trans      &trans  &trans  &trans
            >;
        };

        /*
         * MAC - Sentinel-Layer ueber BASE. Getoggelt via &tog MAC auf L3.
         * Thumbs jetzt alle trans (App-Switch laeuft via HRMs: Alt/Cmd auf
         * Home Row halten, Tab mit anderer Hand). Mod-Morphs fuer comma/dot
         * bleiben wegen Apple-ISO-Swap (< auf GRAVE statt NON_US_BACKSLASH).
         */
        MAC {
            bindings = <
&trans  &trans  &trans  &trans  &trans     &trans  &trans  &trans         &trans         &trans
&trans  &trans  &trans  &trans  &trans     &trans  &trans  &trans         &trans         &trans
&trans  &trans  &trans  &trans  &trans     &trans  &trans  &comma_lt_mac  &dot_gt_mac    &trans
                &trans  &trans  &trans     &trans  &trans  &trans
            >;
        };

        /*
         * L1 - NAV (rechts) + MEDIA (links).
         * Aktiviert via R3-Thumb hold (&lt_ret_revtab L1 0 auf BASE Pos 33).
         * Linke Thumbs sind Layer-Taps zu MOUSE/SYSTEM:
         *   Pos 30 -> &lt L2 0 (MOUSE)
         *   Pos 32 -> &lt L3 0 (SYSTEM)
         * R3 kann nach gemeinsamem Press losgelassen werden, L2/L3 bleibt aktiv.
         */
        L1 {
            bindings = <

&trans  &kp C_VOL_DN  &kp C_MUTE  &kp C_VOL_UP  &trans            &trans    &kp PG_UP  &kp UP    &kp PG_DN  &trans
&trans  &kp C_PREV    &kp C_PP    &kp C_NEXT    &trans            &kp HOME  &kp LEFT   &kp DOWN  &kp RIGHT  &kp END
&trans  &trans        &trans      &trans        &trans            &trans    &trans     &trans    &trans     &trans
                      &trans      &trans        &trans            &trans    &trans     &trans
            >;
        };

        /*
         * L2 - MOUSE.
         * Aktiviert via &lt L2 0 auf L1 Pos 30 (linker Outer-Thumb).
         * Rechte Hand: Cursor (mid row) + Scroll (top row).
         * Rechte Thumbs: Klicks (MCLK / LCLK / RCLK).
         */
        L2 {
            bindings = <
&trans  &trans  &trans  &trans  &trans             &trans          &msc SCRL_UP    &mmv MOVE_UP    &msc SCRL_DOWN   &trans
&trans  &trans  &trans  &trans  &trans             &msc SCRL_LEFT  &mmv MOVE_LEFT  &mmv MOVE_DOWN  &mmv MOVE_RIGHT  &msc SCRL_RIGHT
&trans  &trans  &trans  &trans  &trans             &trans          &trans          &trans          &trans           &trans
                &trans  &trans  &trans             &mkp MCLK       &mkp LCLK       &mkp RCLK
            >;
        };

        /*
         * L3 - SYSTEM.
         * Aktiviert via &lt L3 0 auf L1 Pos 32 (linker Inner-Thumb).
         * Rechte Hand: BT-Profile, Studio, Reset, Output, MAC-Toggle.
         * Pos 25 = &sl LEADER (sticky-layer Leader-Mechanik fuer TTY-Switch etc.).
         */
        L3 {
            bindings = <
&trans  &trans  &trans  &trans  &trans               &soft_off   &studio_unlock  &tog MAC   &bootloader  &sys_reset
&trans  &trans  &trans  &trans  &trans               &bt0_mm     &bt1_mm         &bt2_mm    &bt3_mm      &bt4_mm
&trans  &trans  &trans  &trans  &trans               &sl LEADER  &none           &kp PSCRN  &none        &out_tog
                &trans  &trans  &trans               &trans      &trans          &trans
            >;
        };

        /*
         * L2 - NUM / F-Keys / SYM kombiniert.
         * Mod-Morphs: Tap = Symbol/Ziffer, MOD (Shift via Pos 31) = F-Key oder shifted Symbol.
         */
        L4 {
            bindings = <
&none_f11  &none_f12  &semi_col   &kp LS(RBKT) &dqlo_dq           &dqhi_rsq    &amp_pct  &mins_uscore &eq_plus  &none
&n1_f1     &n2_f2     &n3_f3      &n4_f4       &n5_f5             &n6_f6       &n7_f7    &n8_f8       &n9_f9    &n0_f10
&grv_tild  &dollar_eur &at_excl   &hash_circ   &ndash_mdash       &ellip_deg   &lpar_rpar &lbrc_rbrc  &lcbr_rcbr &bsls_pipe
                       &trans     &trans       &trans             &trans       &trans     &trans
            >;
        };

        /* CMD - nur Umlaute, kein Clipboard mehr (ist auf Combos). */
        CMD {
            bindings = <
&trans  &trans  &trans  &trans  &trans      &trans  &trans  &ue_m   &trans  &trans
&ae_m   &trans  &ss_m   &trans  &trans      &trans  &trans  &trans  &trans  &oe_m
&trans  &trans  &trans  &trans  &trans      &trans  &trans  &trans  &trans  &trans
                &trans  &trans  &trans      &trans  &trans  &trans
            >;
        };

        /*
         * MAC_L4 - conditional ueber L4 + MAC. Ueberschreibt nur die Symbole,
         * deren macOS-DE-Eingabe Option statt AltGr nutzt. Rest = trans.
         */
        MAC_L4 {
            bindings = <
&trans     &trans     &trans     &trans     &dqlo_dq_mac      &dqhi_rsq_mac &trans  &trans         &trans         &trans
&trans     &trans     &trans     &trans     &trans            &trans     &trans     &trans         &trans         &trans
&grv_tild_mac &trans  &at_excl_mac &hash_circ_mac &ndash_mdash_mac  &ellip_deg_mac &trans &lbrc_rbrc_mac &lcbr_rcbr_mac &bsls_pipe_mac
                      &trans     &trans     &trans            &trans     &trans     &trans
            >;
        };

        /*
         * LEADER - sticky-layer aktiviert via &sl LEADER (auf L3 Pos 25).
         * Erste Taste nach Aktivierung wird hier interpretiert, dann Layer wieder weg.
         * Pos 0-4 (Reihe 2 links) = tty1..tty5 (Linux Ctrl+Alt+F1..F5).
         * Alle anderen Positionen = &none -> Sticky-Layer wird einfach beendet.
         */
        LEADER {
            bindings = <
&none  &none  &none  &none  &none      &none  &none  &none  &none  &none
&tty1  &tty2  &tty3  &tty4  &tty5      &none  &none  &none  &none  &none
&none  &none  &none  &none  &none      &none  &none  &none  &none  &none
                &none  &none  &none      &none  &none  &none
            >;
        };

        /*
         * MAC_L3 - conditional ueber L3 + MAC. Ueberschreibt PSCRN auf Pos 27
         * mit dem Mac-Pendant (Shift+Ctrl+Cmd+4 = Bildausschnitt -> Zwischenablage).
         * Alle anderen Slots trans, damit L3-Funktionen (BT-Profile, Studio etc.)
         * unveraendert durchfallen.
         */
        MAC_L3 {
            bindings = <
&trans  &trans  &trans  &trans  &trans     &trans  &trans  &trans       &trans  &trans
&trans  &trans  &trans  &trans  &trans     &trans  &trans  &trans       &trans  &trans
&trans  &trans  &trans  &trans  &trans     &trans  &trans  &pscrn_mac   &trans  &trans
                &trans  &trans  &trans     &trans  &trans  &trans
            >;
        };
    };
};
